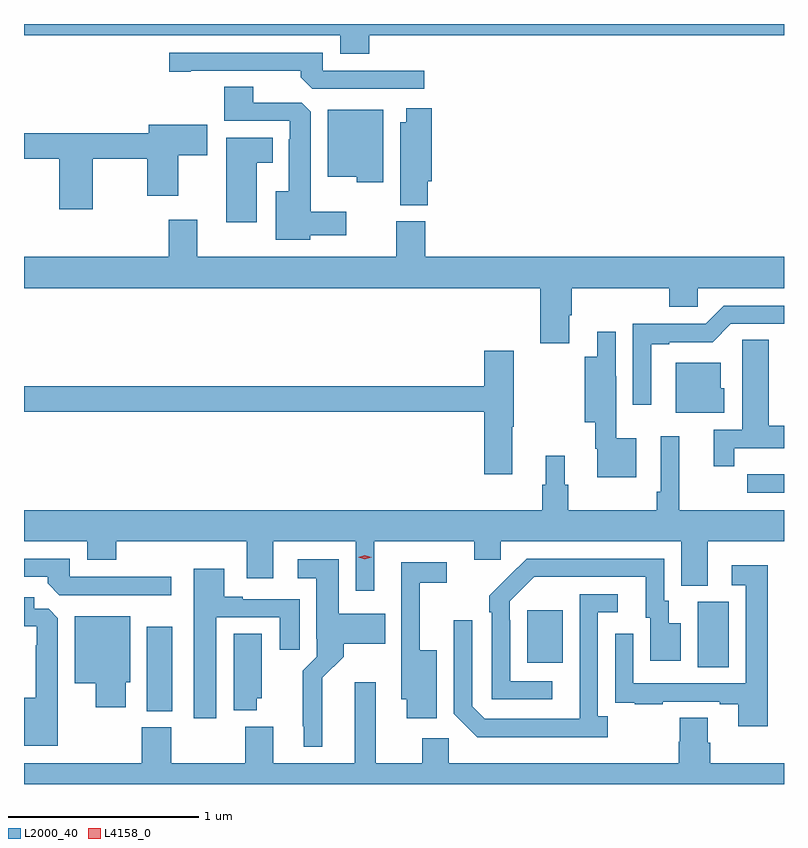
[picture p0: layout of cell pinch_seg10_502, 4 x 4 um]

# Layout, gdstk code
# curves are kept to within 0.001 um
import gdstk
lib = gdstk.Library(unit=1e-6, precision=1e-09)
def R(c, l, rs):  # rectangles x0, y0, x1, y1
    for r in rs: c.add(gdstk.rectangle(r[:2], r[2:], *l))
def P(c, l, *ps):  # polygons
    for p in ps: c.add(gdstk.Polygon(p, *l))
L2000_40 = (2000, 40)
L4158_0 = (4158, 0)

pinch_seg10_502 = lib.new_cell('pinch_seg10_502')
R(pinch_seg10_502, L2000_40, [(154.25,1276.777,154.384,1277.221), (157.148,1277.008,157.312,1277.352), (156.251,1277.033,156.439,1277.308)])
P(pinch_seg10_502, L2000_40, [(155.42,1280.336),(157.603,1280.336),(157.603,1280.394),(153.603,1280.394),(153.603,1280.336),(155.267,1280.336),(155.267,1280.237),(155.42,1280.237)],
  [(155.71,1280.148),(155.175,1280.148),(155.175,1280.244),(154.368,1280.244),(154.368,1280.143),(154.48,1280.143),(154.48,1280.148),(155.06,1280.148),(155.06,1280.114),(155.121,1280.052),(155.71,1280.052)],
  [(155.109,1279.283),(155.299,1279.283),(155.299,1279.405),(155.113,1279.405),(155.113,1279.931),(155.064,1279.98),(154.81,1279.98),(154.81,1280.063),(154.658,1280.063),(154.658,1279.884),(155.001,1279.884),(155.001,1279.787),(154.997,1279.787),(154.997,1279.513),(154.928,1279.513),(154.928,1279.259),(155.109,1279.259)],
  [(155.729,1279.566),(155.75,1279.566),(155.75,1279.951),(155.615,1279.951),(155.615,1279.876),(155.582,1279.876),(155.582,1279.441),(155.729,1279.441)],
  [(155.494,1279.942),(155.201,1279.942),(155.201,1279.589),(155.355,1279.589),(155.355,1279.562),(155.494,1279.562)],
  [(153.966,1279.684),(154.252,1279.684),(154.252,1279.491),(154.414,1279.491),(154.414,1279.702),(154.567,1279.702),(154.567,1279.864),(154.259,1279.864),(154.259,1279.82),(153.603,1279.82),(153.603,1279.684),(153.788,1279.684),(153.788,1279.419),(153.966,1279.419)],
  [(154.828,1279.664),(154.912,1279.664),(154.912,1279.795),(154.667,1279.795),(154.667,1279.35),(154.828,1279.35)],
  [(156.472,1278.862),(156.485,1278.862),(156.485,1279.004),(156.998,1279.004),(156.998,1278.906),(157.149,1278.906),(157.149,1279.004),(157.603,1279.004),(157.603,1279.168),(155.714,1279.168),(155.714,1279.356),(155.561,1279.356),(155.561,1279.168),(154.516,1279.168),(154.516,1279.363),(154.364,1279.363),(154.364,1279.168),(153.603,1279.168),(153.603,1279.004),(156.32,1279.004),(156.32,1278.714),(156.472,1278.714)],
  [(156.904,1278.708),(157,1278.708),(157,1278.72),(157.227,1278.72),(157.323,1278.816),(157.603,1278.816),(157.603,1278.912),(157.287,1278.912),(157.191,1278.816),(156.807,1278.816),(156.807,1278.39),(156.904,1278.39)],
  [(156.826,1278.214),(156.72,1278.214),(156.72,1278.539),(156.718,1278.539),(156.718,1278.775),(156.62,1278.775),(156.62,1278.643),(156.553,1278.643),(156.553,1278.299),(156.609,1278.299),(156.609,1278.158),(156.621,1278.158),(156.621,1278.008),(156.826,1278.008)],
  [(157.34,1278.162),(157.603,1278.162),(157.603,1278.279),(157.522,1278.279),(157.522,1278.731),(157.383,1278.731),(157.383,1278.62),(157.382,1278.62),(157.382,1278.258),(157.232,1278.258),(157.232,1278.066),(157.34,1278.066)],
  [(156.172,1278.275),(156.18,1278.275),(156.18,1278.673),(156.026,1278.673),(156.026,1278.488),(153.603,1278.488),(153.603,1278.352),(156.026,1278.352),(156.026,1278.024),(156.172,1278.024)],
  [(157.288,1278.477),(157.27,1278.477),(157.27,1278.61),(157.034,1278.61),(157.034,1278.347),(157.288,1278.347)],
  [(155.446,1277.672),(155.972,1277.672),(155.972,1277.574),(156.111,1277.574),(156.111,1277.672),(157.061,1277.672),(157.061,1277.437),(157.201,1277.437),(157.201,1277.672),(157.603,1277.672),(157.603,1277.836),(157.052,1277.836),(157.052,1278.223),(156.954,1278.223),(156.954,1277.932),(156.934,1277.932),(156.934,1277.836),(156.467,1277.836),(156.467,1277.97),(156.448,1277.97),(156.448,1278.121),(156.35,1278.121),(156.35,1277.97),(156.331,1277.97),(156.331,1277.836),(153.603,1277.836),(153.603,1277.672),(153.935,1277.672),(153.935,1277.573),(154.088,1277.573),(154.088,1277.672),(154.775,1277.672),(154.775,1277.478),(154.915,1277.478),(154.915,1277.672),(155.349,1277.672),(155.349,1277.412),(155.446,1277.412)],
  [(157.603,1278.025),(157.522,1278.025),(157.522,1278.024),(157.41,1278.024),(157.41,1277.928),(157.603,1277.928)],
  [(154.378,1277.484),(153.843,1277.484),(153.843,1277.58),(153.603,1277.58),(153.603,1277.484),(153.728,1277.484),(153.728,1277.45),(153.789,1277.388),(154.378,1277.388)],
  [(156.382,1276.935),(156.162,1276.935),(156.162,1277.255),(156.159,1277.255),(156.159,1277.355),(156.288,1277.484),(156.875,1277.484),(156.875,1277.268),(156.899,1277.268),(156.899,1277.043),(157.06,1277.043),(157.06,1277.239),(156.997,1277.239),(156.997,1277.358),(156.972,1277.358),(156.972,1277.58),(156.248,1277.58),(156.051,1277.385),(156.051,1277.297),(156.066,1277.297),(156.066,1276.839),(156.382,1276.839)],
  [(155.173,1276.952),(155.286,1277.065),(155.286,1277.132),(155.503,1277.132),(155.503,1277.29),(155.26,1277.29),(155.26,1277.578),(155.043,1277.578),(155.043,1277.477),(155.141,1277.477),(155.141,1277.158),(155.145,1277.158),(155.145,1277.064),(155.071,1276.99),(155.071,1276.699),(155.075,1276.699),(155.075,1276.589),(155.173,1276.589)],
  [(155.776,1277.098),(155.687,1277.098),(155.687,1277.454),(155.827,1277.454),(155.827,1277.562),(155.589,1277.562),(155.589,1277.094),(155.588,1277.094),(155.588,1276.841),(155.618,1276.841),(155.618,1276.74),(155.776,1276.74)],
  [(157.517,1277.545),(157.329,1277.545),(157.329,1277.439),(157.401,1277.439),(157.401,1276.923),(156.81,1276.923),(156.81,1277.185),(156.714,1277.185),(156.714,1276.93),(156.715,1276.93),(156.715,1276.821),(156.817,1276.821),(156.817,1276.815),(156.965,1276.815),(156.965,1276.827),(157.265,1276.827),(157.265,1276.815),(157.361,1276.815),(157.361,1276.698),(157.517,1276.698)],
  [(154.615,1277.271),(154.949,1277.271),(154.949,1277.1),(155.053,1277.1),(155.053,1277.367),(154.753,1277.367),(154.753,1277.38),(154.657,1277.38),(154.657,1277.527),(154.496,1277.527),(154.496,1276.74),(154.615,1276.74)],
  [(156.676,1276.75),(156.624,1276.75),(156.624,1277.298),(156.727,1277.298),(156.727,1277.394),(156.528,1277.394),(156.527,1276.737),(156.027,1276.737),(155.961,1276.803),(155.961,1277.257),(155.865,1277.257),(155.865,1276.763),(155.988,1276.64),(156.676,1276.64)],
  [(153.781,1277.267),(153.732,1277.316),(153.658,1277.316),(153.658,1277.377),(153.603,1277.377),(153.603,1277.223),(153.669,1277.223),(153.669,1277.123),(153.665,1277.123),(153.665,1276.849),(153.603,1276.849),(153.603,1276.595),(153.781,1276.595)],
  [(154.138,1276.929),(154.162,1276.929),(154.162,1277.278),(153.869,1277.278),(153.869,1276.925),(153.98,1276.925),(153.98,1276.797),(154.138,1276.797)],
  [(154.828,1276.845),(154.855,1276.845),(154.855,1277.186),(154.706,1277.186),(154.706,1276.781),(154.828,1276.781)],
  [(157.603,1276.504),(157.214,1276.504),(157.214,1276.61),(157.201,1276.61),(157.201,1276.742),(157.054,1276.742),(157.054,1276.617),(157.049,1276.617),(157.049,1276.504),(155.838,1276.504),(155.838,1276.636),(155.699,1276.636),(155.699,1276.504),(155.455,1276.504),(155.455,1276.93),(155.345,1276.93),(155.345,1276.504),(154.915,1276.504),(154.915,1276.696),(154.768,1276.696),(154.768,1276.504),(154.377,1276.504),(154.377,1276.692),(154.222,1276.692),(154.222,1276.504),(153.603,1276.504),(153.603,1276.394),(157.603,1276.394)])
P(pinch_seg10_502, L4158_0, [(155.397,1277.577),(155.361,1277.587),(155.361,1277.587),(155.361,1277.587),(155.397,1277.597),(155.432,1277.587),(155.432,1277.587),(155.432,1277.587)])

lib.write_gds('pinch_seg10_502.gds')
